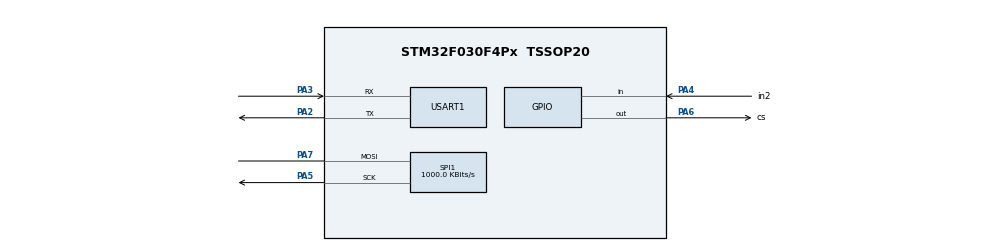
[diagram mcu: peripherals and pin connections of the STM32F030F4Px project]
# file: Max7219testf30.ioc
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Mcu.Family=STM32F0
Mcu.Name=STM32F030F4Px
Mcu.Package=TSSOP20
PA13.Mode=Serial_Wire
PA13.Signal=SYS_SWDIO
PA14.Mode=Serial_Wire
PA14.Signal=SYS_SWCLK
PA2.Mode=Asynchronous
PA2.Signal=USART1_TX
PA3.Mode=Asynchronous
PA3.Signal=USART1_RX
PA4.GPIO_Label=in2
PA4.Signal=GPIO_Input
PA5.Mode=Simplex_Bidirectional_Master
PA5.Signal=SPI1_SCK
PA6.GPIO_Label=cs
PA6.Signal=GPIO_Output
PA7.Mode=Simplex_Bidirectional_Master
PA7.Signal=SPI1_MOSI
ProjectManager.HeapSize=0x200
ProjectManager.StackSize=0x400
ProjectManager.TargetToolchain=SW4STM32
SPI1.BaudRatePrescaler=SPI_BAUDRATEPRESCALER_8
SPI1.CalculateBaudRate=1000.0 KBits/s
SPI1.DataSize=SPI_DATASIZE_8BIT
SPI1.Direction=SPI_DIRECTION_1LINE
SPI1.Mode=SPI_MODE_MASTER
SPI1.VirtualType=VM_MASTER
USART1.VirtualMode-Asynchronous=VM_ASYNC
board=custom

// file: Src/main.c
/* USER CODE BEGIN Header */
/**
  ******************************************************************************
  * @file           : main.c
  * @brief          : Main program body
  ******************************************************************************
  * @attention
  *
  * <h2><center>&copy; Copyright (c) 2019 STMicroelectronics.
  * All rights reserved.</center></h2>
  *
  * This software component is licensed by ST under BSD 3-Clause license,
  * the "License"; You may not use this file except in compliance with the
  * License. You may obtain a copy of the License at:
  *                        opensource.org/licenses/BSD-3-Clause
  *
  ******************************************************************************
  */
/* USER CODE END Header */

#include "main.h"

SPI_HandleTypeDef hspi1;

UART_HandleTypeDef huart1;

/* USER CODE BEGIN PV */
char str1[60];
/* USER CODE END PV */

void SystemClock_Config(void);
static void MX_GPIO_Init(void);
static void MX_SPI1_Init(void);
static void MX_USART1_UART_Init(void);

int main(void)
{
  /* USER CODE BEGIN 1 */
	uint32_t i=0;
	uint8_t status;
			uint8_t dt[8];
			uint16_t raw_temper;
			float temper;
			char c;
			int8_t temper2;
			double temper3=0;
  /* USER CODE END 1 */

  /* MCU Configuration--------------------------------------------------------*/

  /* Reset of all peripherals, Initializes the Flash interface and the Systick. */
  HAL_Init();

  /* Configure the system clock */
  SystemClock_Config();

  /* Initialize all configured peripherals */
  MX_GPIO_Init();
  MX_SPI1_Init();
  MX_USART1_UART_Init();
  /* USER CODE BEGIN 2 */
  port_init();      //от ds
   	status = ds18b20_init(SKIP_ROM);
   	sprintf(str1,"Init Status: %d\r\n",status);
   	HAL_UART_Transmit(&huart1,(uint8_t*)str1,strlen(str1),0x1000);

   	/////////////////////////////////
    HAL_Delay(200);
  	Init_7219();
  	Send_7219(1,0x01);//1
  	Send_7219(2,0x02);//2
  	Send_7219(3,0x03);//3
  	Send_7219(4,0x04);//4
  	Send_7219(5,0x05);//5
  	Send_7219(6,0x06);//6
  	Send_7219(7,0x07);//7
  	Send_7219(8,0x08);//8
  	HAL_Delay(2000);
  	Clear_7219();
  	Number_7219(-4356);//попытаемся вывести отрицательное значение
  	HAL_Delay(2000);
  	Clear_7219();
  	Send_7219(1,0x01);//1
  	  	Send_7219(2,0x02);//2
  	  	Send_7219(3,0x03);//3
  	  	Send_7219(4,0x04);//4
  	  	Send_7219(5,0x05);//5
  	  	Send_7219(6,0x06);//6
  	  	Send_7219(7,0x07);//7
  	  	Send_7219(8,0x03);//8
  	  	HAL_Delay(2000);
  	  Clear_7219();
  /* USER CODE END 2 */

  /* Infinite loop */
  /* USER CODE BEGIN WHILE */
  while (1)
  {
	      //  Number_7219(i);
	  	//	HAL_Delay(20);
	  		//i++;

	  		        ds18b20_MeasureTemperCmd(SKIP_ROM, 0);
	  			  	HAL_Delay(800);
	  			  	ds18b20_ReadStratcpad(SKIP_ROM, dt, 0);
	  			  	sprintf(str1,"STRATHPAD: %02X %02X %02X %02X %02X %02X %02X %02X; ",
	  			  	dt[0], dt[1], dt[2], dt[3], dt[4], dt[5], dt[6], dt[7]);
	  			  	//HAL_UART_Transmit(&huart1,(uint8_t*)str1,strlen(str1),0x1000);
	  			  	raw_temper = ((uint16_t)dt[1]<<8)|dt[0];
	  			  	if(ds18b20_GetSign(raw_temper)) c='-';
	  			  	else c='+';
	  			  	temper = ds18b20_Convert(raw_temper);
	  			  	//temper=temper*100;
	  			  	//temper3=floor(temper);

	  			  	temper2=(int)(floor(temper));

	  			  //	sprintf(str1,"Raw t: 0x%04X; t: %c%.2f\r\n", raw_temper, c, temper);
	  			  //	HAL_UART_Transmit(&huart1,(uint8_t*)str1,strlen(str1),0x1000);
	  			  		  	HAL_Delay(150);

	  			  	//sprintf(str1,"Raw t: 0x%04X; t: %c%f\r\n", raw_temper, c, temper);
	  			  	sprintf(str1,"t= %c%d\r\n",c,temper2);
	  			  	//HAL_UART_Transmit(&huart1,(uint8_t*)str1,strlen(str1),0x1000);
	  			  	HAL_Delay(150);

    /* USER CODE END WHILE */

  }
}

void SystemClock_Config(void)
{
  RCC_OscInitTypeDef RCC_OscInitStruct = {0};
  RCC_ClkInitTypeDef RCC_ClkInitStruct = {0};
  RCC_PeriphCLKInitTypeDef PeriphClkInit = {0};

  /** Initializes the CPU, AHB and APB busses clocks
  */
  RCC_OscInitStruct.OscillatorType = RCC_OSCILLATORTYPE_HSI;
  RCC_OscInitStruct.HSIState = RCC_HSI_ON;
  RCC_OscInitStruct.HSICalibrationValue = RCC_HSICALIBRATION_DEFAULT;
  RCC_OscInitStruct.PLL.PLLState = RCC_PLL_NONE;
  if (HAL_RCC_OscConfig(&RCC_OscInitStruct) != HAL_OK)
  {
    Error_Handler();
  }
  /** Initializes the CPU, AHB and APB busses clocks
  */
  RCC_ClkInitStruct.ClockType = RCC_CLOCKTYPE_HCLK|RCC_CLOCKTYPE_SYSCLK
                              |RCC_CLOCKTYPE_PCLK1;
  RCC_ClkInitStruct.SYSCLKSource = RCC_SYSCLKSOURCE_HSI;
  RCC_ClkInitStruct.AHBCLKDivider = RCC_SYSCLK_DIV1;
  RCC_ClkInitStruct.APB1CLKDivider = RCC_HCLK_DIV1;

  if (HAL_RCC_ClockConfig(&RCC_ClkInitStruct, FLASH_LATENCY_0) != HAL_OK)
  {
    Error_Handler();
  }
  PeriphClkInit.PeriphClockSelection = RCC_PERIPHCLK_USART1;
  PeriphClkInit.Usart1ClockSelection = RCC_USART1CLKSOURCE_PCLK1;
  if (HAL_RCCEx_PeriphCLKConfig(&PeriphClkInit) != HAL_OK)
  {
    Error_Handler();
  }
}

static void MX_SPI1_Init(void)
{

  /* SPI1 parameter configuration*/
  hspi1.Instance = SPI1;
  hspi1.Init.Mode = SPI_MODE_MASTER;
  hspi1.Init.Direction = SPI_DIRECTION_1LINE;
  hspi1.Init.DataSize = SPI_DATASIZE_8BIT;
  hspi1.Init.CLKPolarity = SPI_POLARITY_LOW;
  hspi1.Init.CLKPhase = SPI_PHASE_1EDGE;
  hspi1.Init.NSS = SPI_NSS_SOFT;
  hspi1.Init.BaudRatePrescaler = SPI_BAUDRATEPRESCALER_8;
  hspi1.Init.FirstBit = SPI_FIRSTBIT_MSB;
  hspi1.Init.TIMode = SPI_TIMODE_DISABLE;
  hspi1.Init.CRCCalculation = SPI_CRCCALCULATION_DISABLE;
  hspi1.Init.CRCPolynomial = 7;
  hspi1.Init.CRCLength = SPI_CRC_LENGTH_DATASIZE;
  hspi1.Init.NSSPMode = SPI_NSS_PULSE_ENABLE;
  if (HAL_SPI_Init(&hspi1) != HAL_OK)
  {
    Error_Handler();
  }

}

static void MX_USART1_UART_Init(void)
{

  huart1.Instance = USART1;
  huart1.Init.BaudRate = 38400;
  huart1.Init.WordLength = UART_WORDLENGTH_8B;
  huart1.Init.StopBits = UART_STOPBITS_1;
  huart1.Init.Parity = UART_PARITY_NONE;
  huart1.Init.Mode = UART_MODE_TX_RX;
  huart1.Init.HwFlowCtl = UART_HWCONTROL_NONE;
  huart1.Init.OverSampling = UART_OVERSAMPLING_16;
  huart1.Init.OneBitSampling = UART_ONE_BIT_SAMPLE_DISABLE;
  huart1.AdvancedInit.AdvFeatureInit = UART_ADVFEATURE_NO_INIT;
  if (HAL_UART_Init(&huart1) != HAL_OK)
  {
    Error_Handler();
  }

}

static void MX_GPIO_Init(void)
{
  GPIO_InitTypeDef GPIO_InitStruct = {0};

  /* GPIO Ports Clock Enable */
  __HAL_RCC_GPIOA_CLK_ENABLE();

  /*Configure GPIO pin Output Level */
  HAL_GPIO_WritePin(cs_GPIO_Port, cs_Pin, GPIO_PIN_RESET);

  /*Configure GPIO pin : in2_Pin */
  GPIO_InitStruct.Pin = in2_Pin;
  GPIO_InitStruct.Mode = GPIO_MODE_INPUT;
  GPIO_InitStruct.Pull = GPIO_NOPULL;
  HAL_GPIO_Init(in2_GPIO_Port, &GPIO_InitStruct);

  /*Configure GPIO pin : cs_Pin */
  GPIO_InitStruct.Pin = cs_Pin;
  GPIO_InitStruct.Mode = GPIO_MODE_OUTPUT_PP;
  GPIO_InitStruct.Pull = GPIO_NOPULL;
  GPIO_InitStruct.Speed = GPIO_SPEED_FREQ_LOW;
  HAL_GPIO_Init(cs_GPIO_Port, &GPIO_InitStruct);

}

void Error_Handler(void)
{
}

/************************ (C) COPYRIGHT STMicroelectronics *****END OF FILE****/
